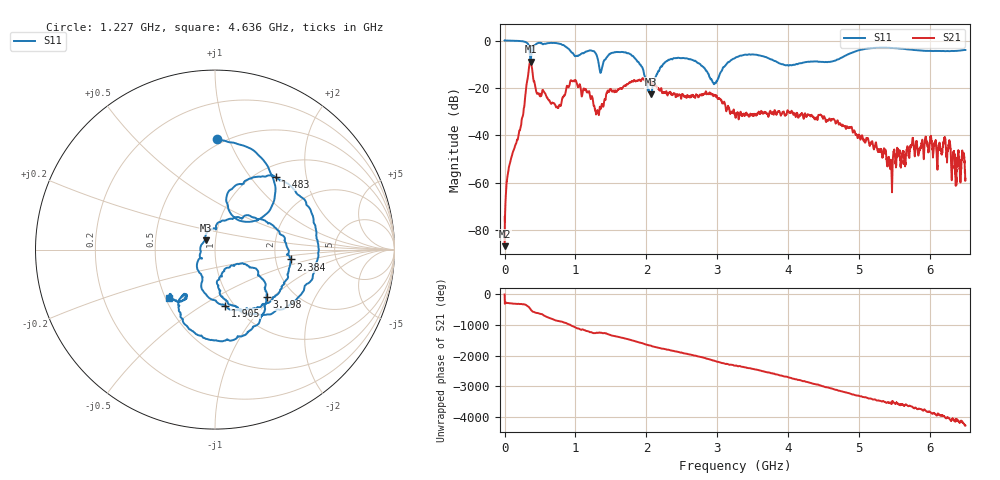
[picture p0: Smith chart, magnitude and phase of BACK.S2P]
!Keysight Technologies,E5063A,MY54503115,A.05.08
!Date: Mon Dec 11 15:14:11 2023
!Data & Calibration Information:
!Freq	S11:NONE(--)	S21:NONE(--)	S12:NONE(--)	S22:NONE(--)
# Hz S dB R 50
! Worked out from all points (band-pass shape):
!   10001 points, 100 kHz to 6.5 GHz, reference 50 ohm
!   highest |S21| = -8.88 dB at 366 MHz (marker M1); lowest = -86.7 dB at 100 kHz (marker M2)
!   |S21| within 3 dB of the highest: 342.2 MHz to 387.9 MHz (45.76 MHz wide, 12.5 % of centre)
!   lowest |S11| = -22.7 dB at 2.068 GHz (marker M3), VSWR 1.16, Z = 44.8 + j4.66 ohm
!   |S11| at or under -10 dB: 1.905 GHz to 2.235 GHz (330.2 MHz wide, 15.9 % of centre); 2.762 GHz to 3.128 GHz (365.9 MHz wide, 12.4 % of centre); 3.927 GHz to 4.109 GHz (181.8 MHz wide, 4.52 % of centre) (the widest 3 of 5)
!   S12 and S22 are empty: the file has one direction only
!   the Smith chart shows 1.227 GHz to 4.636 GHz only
!   S11 on the Smith chart (normalised r, x): 1.227 GHz: 0.46, +0.90; 1.483 GHz: 1.20, +1.34; 1.905 GHz: 0.91, -0.63; 2.384 GHz: 2.42, -0.32; 3.198 GHz: 1.46, -0.92; 4.636 GHz: 0.52, -0.33
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100000  0.05 -0.6  -86.75 -4.0  -200.00 0.0  -200.00 0.0
2.282465e8  -0.21 -75.9  -36.12 46.3  -200.00 0.0  -200.00 0.0
3.660444e8  -8.03 -119.1  -8.88 -124.3  -200.00 0.0  -200.00 0.0
5.974408e8  -1.13 159.5  -24.04 -16.9  -200.00 0.0  -200.00 0.0
7.391386e8  -1.12 89.1  -27.93 -138.4  -200.00 0.0  -200.00 0.0
8.639367e8  -2.63 9.6  -21.22 149.2  -200.00 0.0  -200.00 0.0
9.614352e8  -5.25 -71.8  -17.22 40.9  -200.00 0.0  -200.00 0.0
1.083633e9  -5.56 -175.5  -22.83 -75.7  -200.00 0.0  -200.00 0.0
1.227281e9  -4.24 89.2  -23.83 -154.1  -200.00 0.0  -200.00 0.0
1.482727e9  -5.59 50.0  -20.65 124.6  -200.00 0.0  -200.00 0.0
1.904571e9  -9.97 -79.6  -16.47 -131.8  -200.00 0.0  -200.00 0.0
2.068368e9  -22.69 135.2  -17.23 120.6  -200.00 0.0  -200.00 0.0
2.167167e9  -12.98 52.2  -20.17 58.8  -200.00 0.0  -200.00 0.0
2.383613e9  -7.44 -7.4  -22.37 -45.4  -200.00 0.0  -200.00 0.0
2.961454e9  -17.99 -53.5  -22.98 -8.4  -200.00 0.0  -200.00 0.0
3.198051e9  -8.16 -42.7  -30.26 -140.3  -200.00 0.0  -200.00 0.0
3.25005e9  -7.38 -49.4  -31.28 -167.0  -200.00 0.0  -200.00 0.0
4.333583e9  -8.86 -129.3  -31.59 -25.7  -200.00 0.0  -200.00 0.0
4.635829e9  -8.65 -133.5  -32.99 150.4  -200.00 0.0  -200.00 0.0
5.417117e9  -3.04 162.4  -49.67 68.7  -200.00 0.0  -200.00 0.0
6.201005e9  -4.44 118.3  -41.29 -17.7  -200.00 0.0  -200.00 0.0
6.5e9  -3.97 109.2  -58.30 41.7  -200.00 0.0  -200.00 0.0
